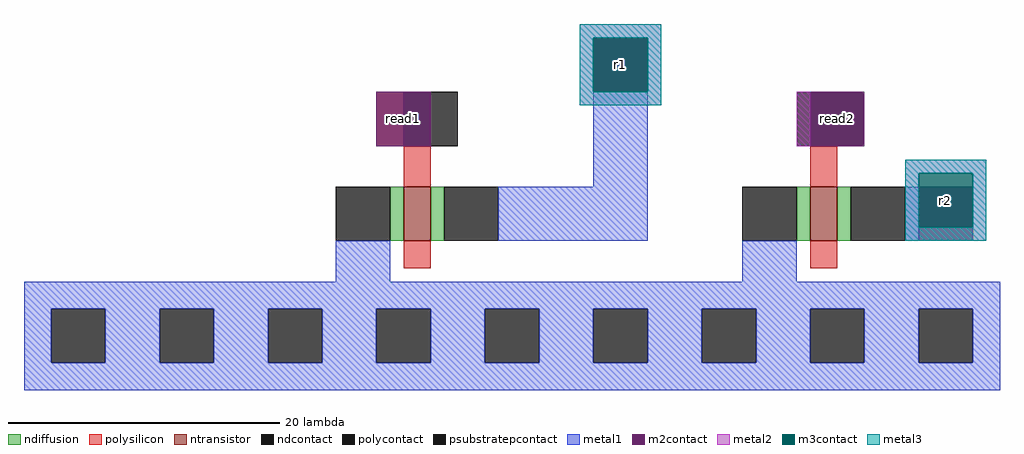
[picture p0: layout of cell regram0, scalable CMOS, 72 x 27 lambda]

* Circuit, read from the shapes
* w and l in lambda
.subckt regram0 r1 r2 read1 read2
M1 r1 read1 VSUBS VSUBS nfet w=4 l=2
M2 r2 read2 VSUBS VSUBS nfet w=4 l=2
.ends

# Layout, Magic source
magic
tech scmos
<< ntransistor >>
rect 26 7 28 11
rect 56 7 58 11
<< ndiffusion >>
rect 25 7 26 11
rect 28 7 29 11
rect 55 7 56 11
rect 58 7 59 11
<< ndcontact >>
rect 21 7 25 11
rect 29 7 33 11
rect 51 7 55 11
rect 59 7 63 11
<< psubstratepcontact >>
rect 0 -2 4 2
rect 8 -2 12 2
rect 16 -2 20 2
rect 24 -2 28 2
rect 32 -2 36 2
rect 40 -2 44 2
rect 48 -2 52 2
rect 56 -2 60 2
rect 64 -2 68 2
<< polysilicon >>
rect 24 14 26 18
rect 26 11 28 14
rect 56 11 58 14
rect 26 5 28 7
rect 56 5 58 7
<< polycontact >>
rect 26 14 30 18
rect 55 14 60 18
<< metal1 >>
rect 40 11 44 18
rect 33 7 44 11
rect 63 7 64 11
rect 21 4 25 7
rect 51 4 55 7
rect -2 2 70 4
rect -2 -2 0 2
rect 4 -2 8 2
rect 12 -2 16 2
rect 20 -2 24 2
rect 28 -2 32 2
rect 36 -2 40 2
rect 44 -2 48 2
rect 52 -2 56 2
rect 60 -2 64 2
rect 68 -2 70 2
rect -2 -4 70 -2
<< m2contact >>
rect 40 18 44 22
rect 24 14 26 18
rect 26 14 28 18
rect 56 14 60 18
rect 64 7 68 11
<< metal2 >>
rect 39 22 45 23
rect 39 18 40 22
rect 44 18 45 22
rect 39 17 45 18
rect 55 14 56 18
rect 63 12 69 13
rect 63 7 64 12
rect 68 7 69 12
<< m3contact >>
rect 40 18 44 22
rect 64 11 68 12
rect 64 8 68 11
<< metal3 >>
rect 39 22 45 23
rect 39 18 40 22
rect 44 18 45 22
rect 39 17 45 18
rect 63 12 69 13
rect 63 8 64 12
rect 68 8 69 12
rect 63 7 69 8
<< labels >>
rlabel m2contact 26 16 26 16 1 read1
rlabel m3contact 42 20 42 20 5 r1
rlabel m3contact 66 10 66 10 7 r2
rlabel m2contact 58 16 58 16 1 read2
<< end >>
